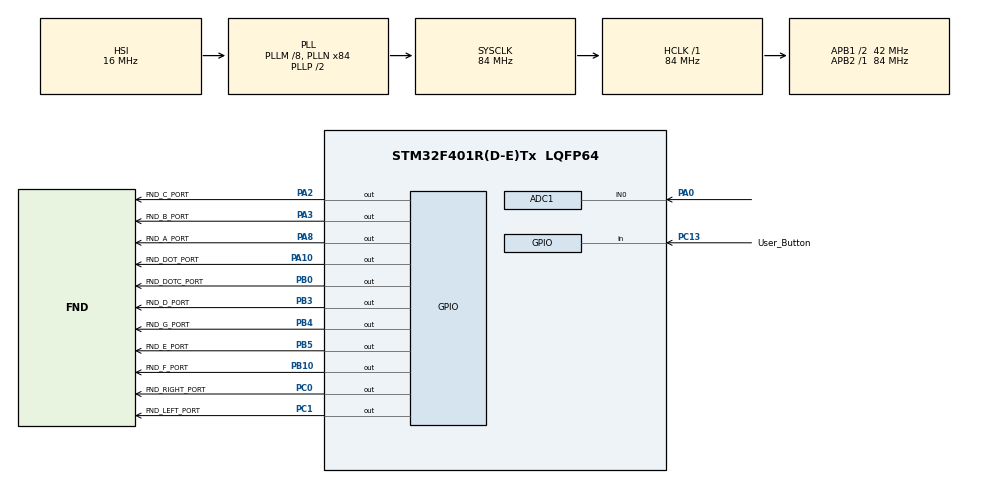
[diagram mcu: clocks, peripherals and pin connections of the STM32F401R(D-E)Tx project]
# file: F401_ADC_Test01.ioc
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ADC1.Channel-0\#ChannelRegularConversion=ADC_CHANNEL_0
ADC1.ClockPrescaler=ADC_CLOCK_SYNC_PCLK_DIV4
ADC1.ContinuousConvMode=ENABLE
ADC1.NbrOfConversion=1
ADC1.NbrOfConversionFlag=1
ADC1.Rank-0\#ChannelRegularConversion=1
ADC1.SamplingTime-0\#ChannelRegularConversion=ADC_SAMPLETIME_3CYCLES
ADC1.master=1
Mcu.Family=STM32F4
Mcu.Name=STM32F401R(D-E)Tx
Mcu.Package=LQFP64
NVIC.ADC_IRQn=true\:0\:0\:false\:false\:true\:true\:true
NVIC.PriorityGroup=NVIC_PRIORITYGROUP_4
NVIC.TIM3_IRQn=true\:0\:0\:false\:false\:true\:true\:true
PA0-WKUP.Signal=ADCx_IN0
PA10.GPIO_Label=FND_DOT_PORT
PA10.PinState=GPIO_PIN_SET
PA10.Signal=GPIO_Output
PA13.Mode=Serial_Wire
PA13.Signal=SYS_JTMS-SWDIO
PA14.Mode=Serial_Wire
PA14.Signal=SYS_JTCK-SWCLK
PA2.GPIO_Label=FND_C_PORT
PA2.PinState=GPIO_PIN_SET
PA2.Signal=GPIO_Output
PA3.GPIO_Label=FND_B_PORT
PA3.PinState=GPIO_PIN_SET
PA3.Signal=GPIO_Output
PA8.GPIO_Label=FND_A_PORT
PA8.PinState=GPIO_PIN_SET
PA8.Signal=GPIO_Output
PB0.GPIO_Label=FND_DOTC_PORT
PB0.Signal=GPIO_Output
PB10.GPIO_Label=FND_F_PORT
PB10.PinState=GPIO_PIN_SET
PB10.Signal=GPIO_Output
PB3.GPIO_Label=FND_D_PORT
PB3.PinState=GPIO_PIN_SET
PB3.Signal=GPIO_Output
PB4.GPIO_Label=FND_G_PORT
PB4.PinState=GPIO_PIN_SET
PB4.Signal=GPIO_Output
PB5.GPIO_Label=FND_E_PORT
PB5.PinState=GPIO_PIN_SET
PB5.Signal=GPIO_Output
PC0.GPIO_Label=FND_RIGHT_PORT
PC0.Signal=GPIO_Output
PC1.GPIO_Label=FND_LEFT_PORT
PC1.Signal=GPIO_Output
PC13-ANTI_TAMP.GPIO_Label=User_Button
PC13-ANTI_TAMP.Signal=GPIO_Input
ProjectManager.HeapSize=0x200
ProjectManager.StackSize=0x400
ProjectManager.TargetToolchain=STM32CubeIDE
RCC.48MHZClocksFreq_Value=42000000
RCC.AHBFreq_Value=84000000
RCC.APB1CLKDivider=RCC_HCLK_DIV2
RCC.APB1Freq_Value=42000000
RCC.APB1TimFreq_Value=84000000
RCC.APB2Freq_Value=84000000
RCC.APB2TimFreq_Value=84000000
RCC.CortexFreq_Value=84000000
RCC.HCLKFreq_Value=84000000
RCC.HSE_VALUE=25000000
RCC.HSI_VALUE=16000000
RCC.LSE_VALUE=32768
RCC.PLLM=8
RCC.PLLN=84
RCC.SYSCLKFreq_VALUE=84000000
RCC.SYSCLKSource=RCC_SYSCLKSOURCE_PLLCLK
RCC.VCOOutputFreq_Value=168000000
SH.ADCx_IN0.0=ADC1_IN0,IN0
TIM3.Period=100-1
TIM3.Prescaler=840-1
VP_TIM3_VS_ClockSourceINT.Mode=Internal
board=custom

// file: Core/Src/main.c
/* USER CODE BEGIN Header */

/**
  ******************************************************************************
  * @file           : main.c
  * @brief          : Main program body
  ******************************************************************************
  * @attention
  *
  * <h2><center>&copy; Copyright (c) 2021 STMicroelectronics.
  * All rights reserved.</center></h2>
  *
  * This software component is licensed by ST under BSD 3-Clause license,
  * the "License"; You may not use this file except in compliance with the
  * License. You may obtain a copy of the License at:
  *                        opensource.org/licenses/BSD-3-Clause
  *
  ******************************************************************************
  */
/* USER CODE END Header */
#include "main.h"

/* USER CODE BEGIN PTD */
#define FND_LEFT_ON	1
#define FND_RIGHT_ON	2
#define MIN_BUTTON_COUNT	0
#define BUTTON_COUNT_INITIALIZE	0
#define FND_INITIALIZE	0
#define RELEASED_BUTTON	0
#define PRESSED_BUTTON	1
#define PRESS_USER_BUTTON	0
#define RELEASE_USER_BUTTON	1
#define INTERRUPT_OCCURRED	1
#define INTERRUPT_WAITING	0
#define	FND_COM_LEFT_CLEAR		HAL_GPIO_WritePin(GPIOC, FND_LEFT_PORT_Pin, GPIO_PIN_SET); \
								HAL_GPIO_WritePin(GPIOC, FND_RIGHT_PORT_Pin, GPIO_PIN_RESET); \
								HAL_GPIO_WritePin(FND_DOTC_PORT_GPIO_Port, FND_DOTC_PORT_Pin, GPIO_PIN_SET);\
								HAL_GPIO_WritePin(GPIOA, FND_DOT_PORT_Pin, GPIO_PIN_RESET);

#define	FND_COM_RIGHT_CLEAR		HAL_GPIO_WritePin(GPIOC, FND_RIGHT_PORT_Pin, GPIO_PIN_SET); \
								HAL_GPIO_WritePin(GPIOC, FND_LEFT_PORT_Pin, GPIO_PIN_RESET);

#define FND_SEG_NUM0_DISP	  HAL_GPIO_WritePin(GPIOA, FND_C_PORT_Pin|FND_B_PORT_Pin|FND_A_PORT_Pin, GPIO_PIN_RESET); \
						      HAL_GPIO_WritePin(GPIOB, FND_F_PORT_Pin|FND_D_PORT_Pin|FND_E_PORT_Pin, GPIO_PIN_RESET); \
							  HAL_GPIO_WritePin(GPIOB, FND_G_PORT_Pin, GPIO_PIN_SET);

#define FND_SEG_NUM1_DISP	  HAL_GPIO_WritePin(GPIOA, FND_B_PORT_Pin|FND_C_PORT_Pin, GPIO_PIN_RESET); \
							  HAL_GPIO_WritePin(GPIOA, FND_A_PORT_Pin, GPIO_PIN_SET); \
							  HAL_GPIO_WritePin(GPIOB, FND_F_PORT_Pin|FND_D_PORT_Pin|FND_G_PORT_Pin|FND_E_PORT_Pin, GPIO_PIN_SET);

#define FND_SEG_NUM2_DISP	  HAL_GPIO_WritePin(GPIOA, FND_B_PORT_Pin|FND_A_PORT_Pin, GPIO_PIN_RESET); \
						      HAL_GPIO_WritePin(GPIOB, FND_D_PORT_Pin|FND_G_PORT_Pin|FND_E_PORT_Pin, GPIO_PIN_RESET); \
						      HAL_GPIO_WritePin(GPIOA, FND_C_PORT_Pin, GPIO_PIN_SET); \
						      HAL_GPIO_WritePin(GPIOB, FND_F_PORT_Pin, GPIO_PIN_SET);

#define FND_SEG_NUM3_DISP	  HAL_GPIO_WritePin(GPIOA, FND_C_PORT_Pin|FND_B_PORT_Pin|FND_A_PORT_Pin, GPIO_PIN_RESET); \
						      HAL_GPIO_WritePin(GPIOB, FND_D_PORT_Pin|FND_G_PORT_Pin, GPIO_PIN_RESET); \
						      HAL_GPIO_WritePin(GPIOB, FND_F_PORT_Pin|FND_E_PORT_Pin, GPIO_PIN_SET);

#define FND_SEG_NUM4_DISP	  HAL_GPIO_WritePin(GPIOA, FND_C_PORT_Pin|FND_B_PORT_Pin, GPIO_PIN_RESET); \
						      HAL_GPIO_WritePin(GPIOB, FND_F_PORT_Pin|FND_G_PORT_Pin, GPIO_PIN_RESET); \
						      HAL_GPIO_WritePin(GPIOA, FND_A_PORT_Pin, GPIO_PIN_SET); \
						      HAL_GPIO_WritePin(GPIOB, FND_E_PORT_Pin|FND_D_PORT_Pin, GPIO_PIN_SET);

#define FND_SEG_NUM5_DISP	  HAL_GPIO_WritePin(GPIOA, FND_C_PORT_Pin|FND_A_PORT_Pin, GPIO_PIN_RESET); \
						      HAL_GPIO_WritePin(GPIOB, FND_F_PORT_Pin|FND_D_PORT_Pin|FND_G_PORT_Pin, GPIO_PIN_RESET); \
						      HAL_GPIO_WritePin(GPIOB, FND_E_PORT_Pin, GPIO_PIN_SET); \
						      HAL_GPIO_WritePin(GPIOA, FND_B_PORT_Pin, GPIO_PIN_SET);

#define FND_SEG_NUM6_DISP	  HAL_GPIO_WritePin(GPIOA, FND_C_PORT_Pin|FND_A_PORT_Pin, GPIO_PIN_RESET); \
						      HAL_GPIO_WritePin(GPIOB, FND_F_PORT_Pin|FND_D_PORT_Pin|FND_G_PORT_Pin|FND_E_PORT_Pin, GPIO_PIN_RESET); \
						      HAL_GPIO_WritePin(GPIOA, FND_B_PORT_Pin, GPIO_PIN_SET);

#define FND_SEG_NUM7_DISP	  HAL_GPIO_WritePin(GPIOA, FND_C_PORT_Pin|FND_B_PORT_Pin|FND_A_PORT_Pin, GPIO_PIN_RESET); \
						      HAL_GPIO_WritePin(GPIOB, FND_F_PORT_Pin, GPIO_PIN_RESET); \
						      HAL_GPIO_WritePin(GPIOB, FND_D_PORT_Pin|FND_G_PORT_Pin|FND_E_PORT_Pin, GPIO_PIN_SET); \

#define FND_SEG_NUM8_DISP	  HAL_GPIO_WritePin(GPIOA, FND_C_PORT_Pin|FND_B_PORT_Pin|FND_A_PORT_Pin, GPIO_PIN_RESET); \
						      HAL_GPIO_WritePin(GPIOB, FND_F_PORT_Pin|FND_D_PORT_Pin|FND_G_PORT_Pin|FND_E_PORT_Pin, GPIO_PIN_RESET);

#define FND_SEG_NUM9_DISP	  HAL_GPIO_WritePin(GPIOA, FND_C_PORT_Pin|FND_B_PORT_Pin|FND_A_PORT_Pin, GPIO_PIN_RESET); \
						      HAL_GPIO_WritePin(GPIOB, FND_F_PORT_Pin|FND_G_PORT_Pin|FND_D_PORT_Pin, GPIO_PIN_RESET); \
						      HAL_GPIO_WritePin(GPIOB, FND_E_PORT_Pin, GPIO_PIN_SET);
/* USER CODE END PTD */

ADC_HandleTypeDef hadc1;

TIM_HandleTypeDef htim3;

void SystemClock_Config(void);
static void MX_GPIO_Init(void);
static void MX_ADC1_Init(void);
static void MX_TIM3_Init(void);
/* USER CODE BEGIN PFP */
uint8_t User_Button_Status = 0;
uint32_t g_ADC_Value;
unsigned char g_ADC1_Status = 0;
unsigned char Button_Status = 0;
uint32_t Button_Count = 0;
uint8_t FND_10disp = 0;
uint8_t FND_1disp = 0;
uint8_t FND_Status = 0;
/* USER CODE END PFP */

/* USER CODE BEGIN 0 */
	void NUM_DISPLAY(uint8_t Disp_Seg_Num)
	{
		switch(Disp_Seg_Num)
		{
		case 0:
			FND_SEG_NUM0_DISP
			break;
		case 1:
			FND_SEG_NUM1_DISP
			break;
		case 2:
			FND_SEG_NUM2_DISP
			break;
		case 3:
			FND_SEG_NUM3_DISP
			break;
		case 4:
			FND_SEG_NUM4_DISP
			break;
		case 5:
			FND_SEG_NUM5_DISP
			break;
		case 6:
			FND_SEG_NUM6_DISP
			break;
		case 7:
			FND_SEG_NUM7_DISP
			break;
		case 8:
			FND_SEG_NUM8_DISP
			break;
		case 9:
			FND_SEG_NUM9_DISP
			break;
		default:
			FND_SEG_NUM0_DISP
			break;
		}
	}

/* USER CODE END 0 */

int main(void)
{
  /* USER CODE BEGIN 1 */
	void Calculate_ADC1(uint32_t ADC1_Value)
	{
		uint8_t FND_Disp = 0;
		float FND_Value = 0;
		float V_REF = 3.3f;
		unsigned int ADC_Resolution = 4096;

		FND_Value = ((V_REF * ADC1_Value) / ADC_Resolution);

		FND_Disp = FND_Value * 10;

		FND_10disp = FND_Disp / 10;
		FND_1disp = FND_Disp % 10;
	}
  /* USER CODE END 1 */

  /* MCU Configuration--------------------------------------------------------*/

  /* Reset of all peripherals, Initializes the Flash interface and the Systick. */
  HAL_Init();

  /* Configure the system clock */
  SystemClock_Config();

  /* Initialize all configured peripherals */
  MX_GPIO_Init();
  MX_ADC1_Init();
  MX_TIM3_Init();
  /* USER CODE BEGIN 2 */
  HAL_ADC_Start_IT(&hadc1);
  HAL_TIM_Base_Start_IT(&htim3);
  /* USER CODE END 2 */

  /* Infinite loop */
  while (1)
  {

    /* USER CODE BEGIN 3 */
	          /*-----------------BUTTON CTRL OR ADC_IT_enable CTRL----------------------*/
	  if((HAL_GPIO_ReadPin(User_Button_GPIO_Port, User_Button_Pin) == PRESS_USER_BUTTON)&&(User_Button_Status == RELEASED_BUTTON)) 		// if button is push and user_button_status is released_button
	  {
		  Button_Count++;
		  if(Button_Count > MIN_BUTTON_COUNT) 				// if button_count greater than min_count
		  {
			  HAL_ADC_Start_IT(&hadc1);
		  }

		  User_Button_Status = PRESSED_BUTTON;
	  }

	  else if(HAL_GPIO_ReadPin(User_Button_GPIO_Port, User_Button_Pin)==RELEASE_USER_BUTTON)					// if button is release
	  {
		  Button_Count = BUTTON_COUNT_INITIALIZE;
		  User_Button_Status = RELEASED_BUTTON;
	  }

		  /*--------------ADC_Value calc--------------*/
	  if(g_ADC1_Status == INTERRUPT_OCCURRED)								// if g_ADC1_Status occurred INTERRUPT
	  {
		  Calculate_ADC1(g_ADC_Value);
		  g_ADC1_Status = INTERRUPT_WAITING;
	  }
  }
  /* USER CODE END 3 */
}

void SystemClock_Config(void)
{
  RCC_OscInitTypeDef RCC_OscInitStruct = {0};
  RCC_ClkInitTypeDef RCC_ClkInitStruct = {0};

  /** Configure the main internal regulator output voltage
  */
  __HAL_RCC_PWR_CLK_ENABLE();
  __HAL_PWR_VOLTAGESCALING_CONFIG(PWR_REGULATOR_VOLTAGE_SCALE2);
  /** Initializes the RCC Oscillators according to the specified parameters
  * in the RCC_OscInitTypeDef structure.
  */
  RCC_OscInitStruct.OscillatorType = RCC_OSCILLATORTYPE_HSI;
  RCC_OscInitStruct.HSIState = RCC_HSI_ON;
  RCC_OscInitStruct.HSICalibrationValue = RCC_HSICALIBRATION_DEFAULT;
  RCC_OscInitStruct.PLL.PLLState = RCC_PLL_ON;
  RCC_OscInitStruct.PLL.PLLSource = RCC_PLLSOURCE_HSI;
  RCC_OscInitStruct.PLL.PLLM = 8;
  RCC_OscInitStruct.PLL.PLLN = 84;
  RCC_OscInitStruct.PLL.PLLP = RCC_PLLP_DIV2;
  RCC_OscInitStruct.PLL.PLLQ = 4;
  if (HAL_RCC_OscConfig(&RCC_OscInitStruct) != HAL_OK)
  {
    Error_Handler();
  }
  /** Initializes the CPU, AHB and APB buses clocks
  */
  RCC_ClkInitStruct.ClockType = RCC_CLOCKTYPE_HCLK|RCC_CLOCKTYPE_SYSCLK
                              |RCC_CLOCKTYPE_PCLK1|RCC_CLOCKTYPE_PCLK2;
  RCC_ClkInitStruct.SYSCLKSource = RCC_SYSCLKSOURCE_PLLCLK;
  RCC_ClkInitStruct.AHBCLKDivider = RCC_SYSCLK_DIV1;
  RCC_ClkInitStruct.APB1CLKDivider = RCC_HCLK_DIV2;
  RCC_ClkInitStruct.APB2CLKDivider = RCC_HCLK_DIV1;

  if (HAL_RCC_ClockConfig(&RCC_ClkInitStruct, FLASH_LATENCY_2) != HAL_OK)
  {
    Error_Handler();
  }
}

static void MX_ADC1_Init(void)
{

  ADC_ChannelConfTypeDef sConfig = {0};

  /** Configure the global features of the ADC (Clock, Resolution, Data Alignment and number of conversion)
  */
  hadc1.Instance = ADC1;
  hadc1.Init.ClockPrescaler = ADC_CLOCK_SYNC_PCLK_DIV4;
  hadc1.Init.Resolution = ADC_RESOLUTION_12B;
  hadc1.Init.ScanConvMode = DISABLE;
  hadc1.Init.ContinuousConvMode = ENABLE;
  hadc1.Init.DiscontinuousConvMode = DISABLE;
  hadc1.Init.ExternalTrigConvEdge = ADC_EXTERNALTRIGCONVEDGE_NONE;
  hadc1.Init.ExternalTrigConv = ADC_SOFTWARE_START;
  hadc1.Init.DataAlign = ADC_DATAALIGN_RIGHT;
  hadc1.Init.NbrOfConversion = 1;
  hadc1.Init.DMAContinuousRequests = DISABLE;
  hadc1.Init.EOCSelection = ADC_EOC_SINGLE_CONV;
  if (HAL_ADC_Init(&hadc1) != HAL_OK)
  {
    Error_Handler();
  }
  /** Configure for the selected ADC regular channel its corresponding rank in the sequencer and its sample time.
  */
  sConfig.Channel = ADC_CHANNEL_0;
  sConfig.Rank = 1;
  sConfig.SamplingTime = ADC_SAMPLETIME_3CYCLES;
  if (HAL_ADC_ConfigChannel(&hadc1, &sConfig) != HAL_OK)
  {
    Error_Handler();
  }

}

static void MX_TIM3_Init(void)
{

  TIM_ClockConfigTypeDef sClockSourceConfig = {0};
  TIM_MasterConfigTypeDef sMasterConfig = {0};

  htim3.Instance = TIM3;
  htim3.Init.Prescaler = 840-1;
  htim3.Init.CounterMode = TIM_COUNTERMODE_UP;
  htim3.Init.Period = 100-1;
  htim3.Init.ClockDivision = TIM_CLOCKDIVISION_DIV1;
  htim3.Init.AutoReloadPreload = TIM_AUTORELOAD_PRELOAD_DISABLE;
  if (HAL_TIM_Base_Init(&htim3) != HAL_OK)
  {
    Error_Handler();
  }
  sClockSourceConfig.ClockSource = TIM_CLOCKSOURCE_INTERNAL;
  if (HAL_TIM_ConfigClockSource(&htim3, &sClockSourceConfig) != HAL_OK)
  {
    Error_Handler();
  }
  sMasterConfig.MasterOutputTrigger = TIM_TRGO_RESET;
  sMasterConfig.MasterSlaveMode = TIM_MASTERSLAVEMODE_DISABLE;
  if (HAL_TIMEx_MasterConfigSynchronization(&htim3, &sMasterConfig) != HAL_OK)
  {
    Error_Handler();
  }

}

static void MX_GPIO_Init(void)
{
  GPIO_InitTypeDef GPIO_InitStruct = {0};

  /* GPIO Ports Clock Enable */
  __HAL_RCC_GPIOC_CLK_ENABLE();
  __HAL_RCC_GPIOA_CLK_ENABLE();
  __HAL_RCC_GPIOB_CLK_ENABLE();

  /*Configure GPIO pin Output Level */
  HAL_GPIO_WritePin(GPIOC, FND_RIGHT_PORT_Pin|FND_LEFT_PORT_Pin, GPIO_PIN_RESET);

  /*Configure GPIO pin Output Level */
  HAL_GPIO_WritePin(GPIOA, FND_C_PORT_Pin|FND_B_PORT_Pin|FND_A_PORT_Pin|FND_DOT_PORT_Pin, GPIO_PIN_SET);

  /*Configure GPIO pin Output Level */
  HAL_GPIO_WritePin(FND_DOTC_PORT_GPIO_Port, FND_DOTC_PORT_Pin, GPIO_PIN_RESET);

  /*Configure GPIO pin Output Level */
  HAL_GPIO_WritePin(GPIOB, FND_F_PORT_Pin|FND_D_PORT_Pin|FND_G_PORT_Pin|FND_E_PORT_Pin, GPIO_PIN_SET);

  /*Configure GPIO pin : User_Button_Pin */
  GPIO_InitStruct.Pin = User_Button_Pin;
  GPIO_InitStruct.Mode = GPIO_MODE_INPUT;
  GPIO_InitStruct.Pull = GPIO_NOPULL;
  HAL_GPIO_Init(User_Button_GPIO_Port, &GPIO_InitStruct);

  /*Configure GPIO pins : FND_RIGHT_PORT_Pin FND_LEFT_PORT_Pin */
  GPIO_InitStruct.Pin = FND_RIGHT_PORT_Pin|FND_LEFT_PORT_Pin;
  GPIO_InitStruct.Mode = GPIO_MODE_OUTPUT_PP;
  GPIO_InitStruct.Pull = GPIO_NOPULL;
  GPIO_InitStruct.Speed = GPIO_SPEED_FREQ_LOW;
  HAL_GPIO_Init(GPIOC, &GPIO_InitStruct);

  /*Configure GPIO pins : FND_C_PORT_Pin FND_B_PORT_Pin FND_A_PORT_Pin FND_DOT_PORT_Pin */
  GPIO_InitStruct.Pin = FND_C_PORT_Pin|FND_B_PORT_Pin|FND_A_PORT_Pin|FND_DOT_PORT_Pin;
  GPIO_InitStruct.Mode = GPIO_MODE_OUTPUT_PP;
  GPIO_InitStruct.Pull = GPIO_NOPULL;
  GPIO_InitStruct.Speed = GPIO_SPEED_FREQ_LOW;
  HAL_GPIO_Init(GPIOA, &GPIO_InitStruct);

  /*Configure GPIO pins : FND_DOTC_PORT_Pin FND_F_PORT_Pin FND_D_PORT_Pin FND_G_PORT_Pin
                           FND_E_PORT_Pin */
  GPIO_InitStruct.Pin = FND_DOTC_PORT_Pin|FND_F_PORT_Pin|FND_D_PORT_Pin|FND_G_PORT_Pin
                          |FND_E_PORT_Pin;
  GPIO_InitStruct.Mode = GPIO_MODE_OUTPUT_PP;
  GPIO_InitStruct.Pull = GPIO_NOPULL;
  GPIO_InitStruct.Speed = GPIO_SPEED_FREQ_LOW;
  HAL_GPIO_Init(GPIOB, &GPIO_InitStruct);

}

/* USER CODE BEGIN 4 */
void HAL_ADC_ConvCpltCallback(ADC_HandleTypeDef* hadc)
{
	g_ADC1_Status = INTERRUPT_OCCURRED;

	g_ADC_Value = HAL_ADC_GetValue(&hadc1);
}

void HAL_TIM_PeriodElapsedCallback(TIM_HandleTypeDef *htim)
{
	if(htim == &htim3)
	{
		if(FND_Status == FND_INITIALIZE)
		{
			FND_Status = FND_LEFT_ON;
			FND_COM_LEFT_CLEAR
			NUM_DISPLAY(FND_10disp);
		}

		else if(FND_Status == FND_LEFT_ON)
		{
			FND_Status = FND_RIGHT_ON;
			FND_COM_RIGHT_CLEAR
			NUM_DISPLAY(FND_1disp);
		}

		else
			FND_Status = FND_INITIALIZE;
	}
}
/* USER CODE END 4 */

void Error_Handler(void)
{
  __disable_irq();
  while (1)
  {
  }
}

/************************ (C) COPYRIGHT STMicroelectronics *****END OF FILE****/
